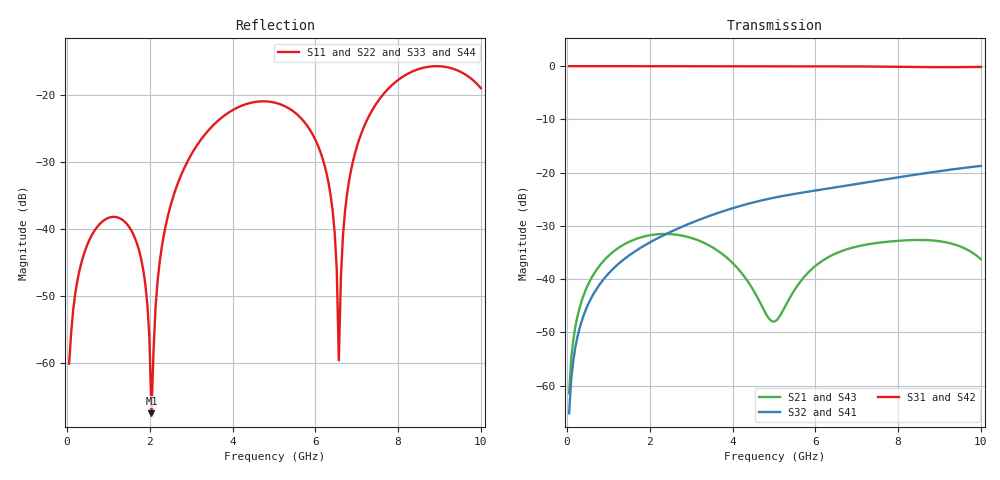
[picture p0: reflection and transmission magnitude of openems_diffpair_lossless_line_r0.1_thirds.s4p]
! openEMS, openems_diffpair_lossless_line_r0.1_thirds, 403000 cells, ports P1 N1 P2 N2
# GHz S RI R 50
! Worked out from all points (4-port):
!   201 points, 50 MHz to 10 GHz, reference 50 ohm
!   strongest paths, dB at 50 MHz, 2.538 GHz, 5.025 GHz, 7.513 GHz, 10 GHz:
!     S31: 0.0, 0.0, -0.1, -0.1, -0.1
!     S42: 0.0, 0.0, -0.1, -0.1, -0.1
!     S32: -65.2, -31.0, -24.7, -21.5, -18.7
!     S41: -65.2, -31.0, -24.7, -21.5, -18.7
!     S21: -61.4, -31.6, -47.9, -33.2, -36.3
!     S43: -61.4, -31.6, -47.9, -33.2, -36.3
!   lowest |S11| = -67.5 dB at 2.04 GHz (marker M1), VSWR 1.00, Z = 50 - j0.036 ohm
!   |S11| at or under -10 dB: start of sweep to end of sweep
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0.05  0.000321 0.000938  -5.91e-05 0.000846  0.9992 -0.0366  2.46e-05 -0.000548
      -5.86e-05 0.000846  0.000323 0.000937  2.44e-05 -0.000548  0.9992 -0.0366
      0.9992 -0.0366  2.44e-05 -0.000548  0.000323 0.000937  -5.92e-05 0.000846
      2.42e-05 -0.000548  0.9992 -0.0366  -5.91e-05 0.000846  0.000323 0.000937
1.29375  0.00987 0.00675  0.0165 0.0117  0.5846 -0.8106  -0.0119 -0.00828
         0.0165 0.0117  0.00987 0.00675  -0.0119 -0.00828  0.5846 -0.8106
         0.5846 -0.8106  -0.0119 -0.00828  0.00987 0.00675  0.0165 0.0117
         -0.0119 -0.00828  0.5846 -0.8106  0.0165 0.0117  0.00987 0.00675
2.04  0.00022 -0.00036  0.0259 0.00206  0.0787 -0.9961  -0.0225 -0.00176
      0.0259 0.00206  0.00022 -0.000361  -0.0225 -0.00176  0.0787 -0.9961
      0.0787 -0.9961  -0.0225 -0.00176  0.00022 -0.000361  0.0259 0.00206
      -0.0225 -0.00176  0.0787 -0.9961  0.0259 0.00206  0.00022 -0.000361
3.433  -0.0331 0.0443  0.0137 -0.0156  -0.8066 -0.5861  -0.0237 0.0311
       0.0137 -0.0156  -0.0331 0.0443  -0.0237 0.0311  -0.8066 -0.5861
       -0.8066 -0.5861  -0.0237 0.0311  -0.0331 0.0443  0.0137 -0.0156
       -0.0237 0.0311  -0.8066 -0.5861  0.0137 -0.0156  -0.0331 0.0443
6.418  0.0136 0.00131  0.0169 0.000131  -0.00736 0.9955  0.072 -0.00109
       0.0169 0.000131  0.0136 0.00131  0.072 -0.00109  -0.00736 0.9955
       -0.00736 0.9955  0.072 -0.00109  0.0136 0.00131  0.0169 0.000131
       0.072 -0.00109  -0.00736 0.9955  0.0169 0.000131  0.0136 0.00131
6.56725  0.00046 0.000943  0.0179 -0.00104  0.1029 0.9902  0.0729 -0.00892
         0.0179 -0.00104  0.00046 0.000943  0.0729 -0.00892  0.1029 0.9902
         0.1029 0.9902  0.0729 -0.00892  0.00046 0.000943  0.0179 -0.00104
         0.0729 -0.00892  0.1029 0.9902  0.0179 -0.00104  0.00046 0.000943
10  0.0957 0.0591  -0.00434 -0.0147  0.4724 -0.8627  -0.102 -0.0545
    -0.00434 -0.0147  0.0957 0.0591  -0.102 -0.0545  0.4724 -0.8627
    0.4724 -0.8627  -0.102 -0.0545  0.0957 0.0591  -0.00434 -0.0147
    -0.102 -0.0545  0.4724 -0.8627  -0.00434 -0.0147  0.0957 0.0591
